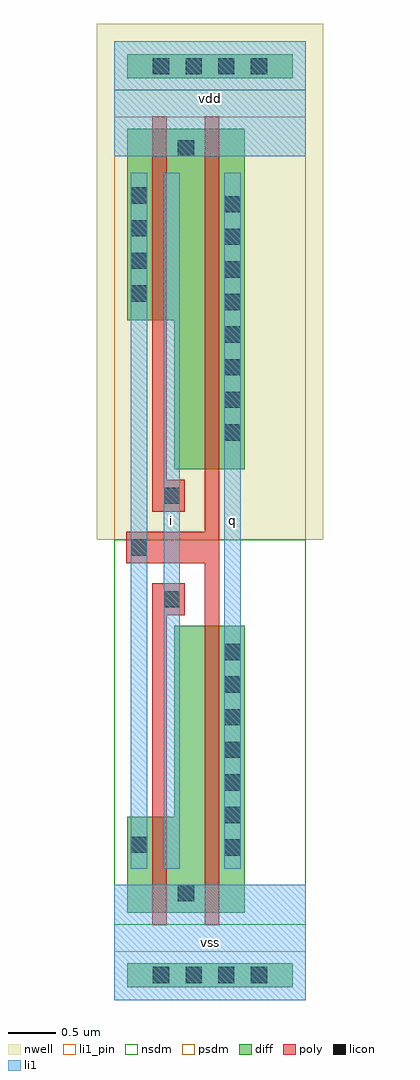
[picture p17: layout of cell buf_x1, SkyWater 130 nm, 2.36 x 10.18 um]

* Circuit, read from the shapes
.subckt buf_x1 i q vdd vss
XM1 vss i n1 VSUBS sky130_fd_pr__nfet_01v8 w=1 l=0.15
XM2 q n1 vss VSUBS sky130_fd_pr__nfet_01v8 w=2.995 l=0.15
XM3 vdd i n1 n2 sky130_fd_pr__pfet_01v8 w=2 l=0.15
XM4 q n1 vdd n2 sky130_fd_pr__pfet_01v8 w=3.555 l=0.15
.ends

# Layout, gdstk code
import gdstk
lib = gdstk.Library(unit=1e-6, precision=1e-09)
def R(c, l, rs):  # rectangles x0, y0, x1, y1
    for r in rs: c.add(gdstk.rectangle(r[:2], r[2:], *l))
def A(c, l, x, y, w, h, nx, ny, dx, dy):  # array of equal rectangles
    R(c, l, [(x+i*dx, y+j*dy, x+i*dx+w, y+j*dy+h) for i in range(nx) for j in range(ny)])
def P(c, l, *ps):  # polygons
    for p in ps: c.add(gdstk.Polygon(p, *l))
nwell = (64, 20)
diff = (65, 20)
poly = (66, 20)
licon = (66, 44)
li1_pin = (67, 16)
li1 = (67, 20)
nsdm = (93, 44)
psdm = (94, 20)

buf_x1 = lib.new_cell('buf_x1')
R(buf_x1, nwell, [(-0.18,4.8,2.18,10.18)])
R(buf_x1, diff, [(0.135,0.135,1.865,0.385), (0.135,9.615,1.865,9.865)])
P(buf_x1, diff, [(0.625,5.535),(0.625,7.09),(0.135,7.09),(0.135,9.09),(1.36,9.09),(1.36,5.535)],
  [(0.135,0.91),(0.135,1.91),(0.625,1.91),(0.625,3.905),(1.36,3.905),(1.36,0.91)])
P(buf_x1, poly, [(0.945,0.78),(0.945,4.555),(0.125,4.555),(0.125,4.885),(0.945,4.885),(0.945,9.22),(1.095,9.22),(1.095,0.78)],
  [(0.4,0.78),(0.4,4.345),(0.735,4.345),(0.735,4.015),(0.55,4.015),(0.55,0.78)],
  [(0.4,5.095),(0.4,9.22),(0.55,9.22),(0.55,5.425),(0.735,5.425),(0.735,5.095)])
A(buf_x1, licon, 0.405, 0.175, 0.17, 0.17, 4, 2, 0.34, 9.48)
A(buf_x1, licon, 1.15, 1.505, 0.17, 0.17, 1, 7, 0, 0.34)
A(buf_x1, licon, 1.15, 5.835, 0.17, 0.17, 1, 8, 0, 0.34)
A(buf_x1, licon, 0.175, 7.285, 0.17, 0.17, 1, 4, 0, 0.34)
R(buf_x1, licon, [(0.665,1.03,0.835,1.2), (0.175,1.535,0.345,1.705), (0.515,4.095,0.685,4.265), (0.175,4.635,0.345,4.805), (0.515,5.175,0.685,5.345), (0.665,8.8,0.835,8.97)])
R(buf_x1, li1_pin, [(0,0,2,1.2), (0.515,1.37,0.685,8.63), (1.15,1.37,1.32,8.63), (0,8.8,2,10)])
R(buf_x1, li1, [(0,0,2,1.2), (0.175,1.37,0.345,8.63), (0.515,1.37,0.685,8.63), (1.15,1.37,1.32,8.63), (0,8.8,2,10)])
R(buf_x1, nsdm, [(0,0.785,2,4.8), (0,9.49,2,10)])
R(buf_x1, psdm, [(0,0,2,0.51), (0,4.8,2,9.215)])
buf_x1.add(gdstk.Label('vdd', (1,9.4), layer=67, texttype=16))
buf_x1.add(gdstk.Label('vss', (1,0.6), layer=67, texttype=16))
buf_x1.add(gdstk.Label('i', (0.6,5), layer=67, texttype=16))
buf_x1.add(gdstk.Label('q', (1.235,5), layer=67, texttype=16))

lib.write_gds('buf_x1.gds')
